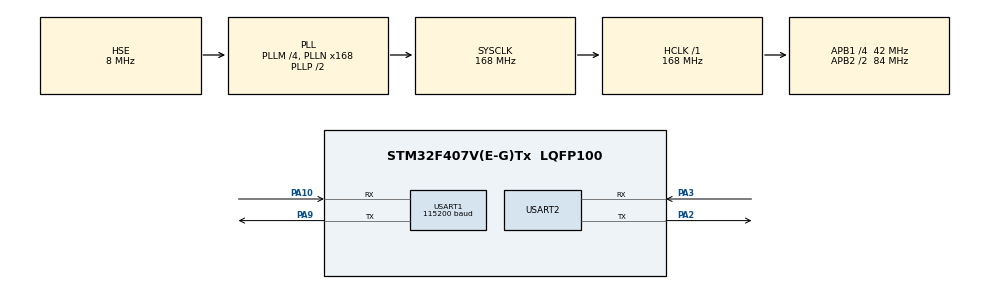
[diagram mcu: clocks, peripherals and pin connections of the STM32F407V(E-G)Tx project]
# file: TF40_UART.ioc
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Dma.Request0=USART1_RX
Dma.Request1=USART1_TX
Dma.Request2=USART2_RX
Dma.Request3=USART2_TX
Dma.USART1_RX.0.Direction=DMA_PERIPH_TO_MEMORY
Dma.USART1_RX.0.FIFOMode=DMA_FIFOMODE_DISABLE
Dma.USART1_RX.0.Instance=DMA2_Stream2
Dma.USART1_RX.0.MemDataAlignment=DMA_MDATAALIGN_BYTE
Dma.USART1_RX.0.MemInc=DMA_MINC_ENABLE
Dma.USART1_RX.0.Mode=DMA_NORMAL
Dma.USART1_RX.0.PeriphDataAlignment=DMA_PDATAALIGN_BYTE
Dma.USART1_RX.0.PeriphInc=DMA_PINC_DISABLE
Dma.USART1_RX.0.Priority=DMA_PRIORITY_LOW
Dma.USART1_TX.1.Direction=DMA_MEMORY_TO_PERIPH
Dma.USART1_TX.1.FIFOMode=DMA_FIFOMODE_DISABLE
Dma.USART1_TX.1.Instance=DMA2_Stream7
Dma.USART1_TX.1.MemDataAlignment=DMA_MDATAALIGN_BYTE
Dma.USART1_TX.1.MemInc=DMA_MINC_ENABLE
Dma.USART1_TX.1.Mode=DMA_NORMAL
Dma.USART1_TX.1.PeriphDataAlignment=DMA_PDATAALIGN_BYTE
Dma.USART1_TX.1.PeriphInc=DMA_PINC_DISABLE
Dma.USART1_TX.1.Priority=DMA_PRIORITY_LOW
Dma.USART2_RX.2.Direction=DMA_PERIPH_TO_MEMORY
Dma.USART2_RX.2.FIFOMode=DMA_FIFOMODE_DISABLE
Dma.USART2_RX.2.Instance=DMA1_Stream5
Dma.USART2_RX.2.MemDataAlignment=DMA_MDATAALIGN_BYTE
Dma.USART2_RX.2.MemInc=DMA_MINC_ENABLE
Dma.USART2_RX.2.Mode=DMA_NORMAL
Dma.USART2_RX.2.PeriphDataAlignment=DMA_PDATAALIGN_BYTE
Dma.USART2_RX.2.PeriphInc=DMA_PINC_DISABLE
Dma.USART2_RX.2.Priority=DMA_PRIORITY_LOW
Dma.USART2_TX.3.Direction=DMA_MEMORY_TO_PERIPH
Dma.USART2_TX.3.FIFOMode=DMA_FIFOMODE_DISABLE
Dma.USART2_TX.3.Instance=DMA1_Stream6
Dma.USART2_TX.3.MemDataAlignment=DMA_MDATAALIGN_BYTE
Dma.USART2_TX.3.MemInc=DMA_MINC_ENABLE
Dma.USART2_TX.3.Mode=DMA_NORMAL
Dma.USART2_TX.3.PeriphDataAlignment=DMA_PDATAALIGN_BYTE
Dma.USART2_TX.3.PeriphInc=DMA_PINC_DISABLE
Dma.USART2_TX.3.Priority=DMA_PRIORITY_LOW
Mcu.Family=STM32F4
Mcu.Name=STM32F407V(E-G)Tx
Mcu.Package=LQFP100
NVIC.DMA1_Stream5_IRQn=true\:0\:0\:false\:false\:true\:false\:true
NVIC.DMA1_Stream6_IRQn=true\:0\:0\:false\:false\:true\:false\:true
NVIC.DMA2_Stream2_IRQn=true\:0\:0\:false\:false\:true\:false\:true
NVIC.DMA2_Stream7_IRQn=true\:0\:0\:false\:false\:true\:false\:true
NVIC.PriorityGroup=NVIC_PRIORITYGROUP_4
NVIC.USART1_IRQn=true\:0\:0\:false\:false\:true\:true\:true
NVIC.USART2_IRQn=true\:0\:0\:false\:false\:true\:true\:true
PA10.Mode=Asynchronous
PA10.Signal=USART1_RX
PA13.Mode=Serial_Wire
PA13.Signal=SYS_JTMS-SWDIO
PA14.Mode=Serial_Wire
PA14.Signal=SYS_JTCK-SWCLK
PA2.Mode=Asynchronous
PA2.Signal=USART2_TX
PA3.Mode=Asynchronous
PA3.Signal=USART2_RX
PA9.Mode=Asynchronous
PA9.Signal=USART1_TX
PH0-OSC_IN.Mode=HSE-External-Oscillator
PH0-OSC_IN.Signal=RCC_OSC_IN
PH1-OSC_OUT.Mode=HSE-External-Oscillator
PH1-OSC_OUT.Signal=RCC_OSC_OUT
ProjectManager.HeapSize=0x200
ProjectManager.StackSize=0x400
ProjectManager.TargetToolchain=MDK-ARM V5.27
RCC.48MHZClocksFreq_Value=84000000
RCC.AHBFreq_Value=168000000
RCC.APB1CLKDivider=RCC_HCLK_DIV4
RCC.APB1Freq_Value=42000000
RCC.APB1TimFreq_Value=84000000
RCC.APB2CLKDivider=RCC_HCLK_DIV2
RCC.APB2Freq_Value=84000000
RCC.APB2TimFreq_Value=168000000
RCC.CortexFreq_Value=168000000
RCC.HCLKFreq_Value=168000000
RCC.HSE_VALUE=8000000
RCC.HSI_VALUE=16000000
RCC.LSE_VALUE=32768
RCC.PLLM=4
RCC.PLLN=168
RCC.PLLSourceVirtual=RCC_PLLSOURCE_HSE
RCC.SYSCLKFreq_VALUE=168000000
RCC.SYSCLKSource=RCC_SYSCLKSOURCE_PLLCLK
RCC.VCOOutputFreq_Value=336000000
USART1.BaudRate=115200
USART1.VirtualMode=VM_ASYNC
USART2.VirtualMode=VM_ASYNC
board=custom

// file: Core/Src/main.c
/* USER CODE BEGIN Header */
/**
 ******************************************************************************
 * @file           : main.c
 * @brief          : Main program body
 ******************************************************************************
 * @attention
 *
 * <h2><center>&copy; Copyright (c) 2022 STMicroelectronics.
 * All rights reserved.</center></h2>
 *
 * This software component is licensed by ST under BSD 3-Clause license,
 * the "License"; You may not use this file except in compliance with the
 * License. You may obtain a copy of the License at:
 *                        opensource.org/licenses/BSD-3-Clause
 *
 ******************************************************************************
 */
/* USER CODE END Header */
#include "main.h"
#include "dma.h"
#include "usart.h"
#include "gpio.h"

/* USER CODE BEGIN PTD */
uint8_t turn_on_laser[] = {
    0x01, 0x10, 0x00, 0x03, 0x00, 0x01, 0x02, 0x00, 0x01, 0x67, 0xA3};
uint8_t close_off_laser[] = {
    0x01, 0x10, 0x00, 0x03, 0x00, 0x01, 0x02, 0x00, 0x00, 0xA6, 0x63};
uint8_t serial_port[] = {
    0x01, 0x10, 0x00, 0x00, 0x00, 0x02, 0x04, 0x00, 0x01, 0xC2, 0x00, 0xF3, 0x0F};
uint8_t continue_meature_mode[] = {
    0x01, 0x03, 0x00, 0x01, 0x00, 0x02, 0x95, 0xCB};
uint8_t start_read_distance[] = {
    0x01, 0x03, 0x00, 0x0F, 0x00, 0x02, 0xF4, 0x08};
uint8_t read_buffer[9];
/* USER CODE END PTD */

/* USER CODE BEGIN PV */
#define BW_TFLidar_DATA_Len             9
#define BW_TFLidar_DATA_ADDRESS            0x01
#define BW_TFLidar_DATA_FUNCTION           0x03
#define BW_TFLidar_DATA_BUTES           0x04

extern DMA_HandleTypeDef hdma_usart1_rx;
extern DMA_HandleTypeDef hdma_usart2_rx;

uint8_t g_usart1_rx_buf[USART_BUF_SIZE] = {0};    /*usart1_rx_buf*/
uint8_t g_usart2_rx_buf[USART_BUF_SIZE] = {0};    /*usart2_rx_buf*/
/* USER CODE END PV */

void SystemClock_Config(void);

int main(void)
{

  /* MCU Configuration--------------------------------------------------------*/

  /* Reset of all peripherals, Initializes the Flash interface and the Systick. */
  HAL_Init();

  /* Configure the system clock */
  SystemClock_Config();

  /* Initialize all configured peripherals */
  MX_GPIO_Init();
  MX_USART1_UART_Init();
  MX_DMA_Init();
  MX_USART2_UART_Init();
  /* USER CODE BEGIN 2 */
  // HAL_UART_Transmit(&huart1, continue_meature_mode, sizeof(continue_meature_mode), 1000);
  //HAL_UART_Transmit(&huart1, serial_port, 12, 1000);

  HAL_Delay(500);
    HAL_UART_Transmit(&huart1, turn_on_laser, sizeof(turn_on_laser), 1000);
  HAL_Delay(1000);
  HAL_UART_Transmit(&huart1, close_off_laser, sizeof(close_off_laser), 1000);
  HAL_Delay(1000);
  HAL_UART_Receive_IT(&huart1, read_buffer, 9);

  /* USER CODE END 2 */

  /* Infinite loop */
  while (1)
  {

    /* USER CODE BEGIN 3 */
    HAL_Delay(100);
  }
  /* USER CODE END 3 */
}

void SystemClock_Config(void)
{
  RCC_OscInitTypeDef RCC_OscInitStruct = {0};
  RCC_ClkInitTypeDef RCC_ClkInitStruct = {0};

  /** Configure the main internal regulator output voltage
  */
  __HAL_RCC_PWR_CLK_ENABLE();
  __HAL_PWR_VOLTAGESCALING_CONFIG(PWR_REGULATOR_VOLTAGE_SCALE1);
  /** Initializes the RCC Oscillators according to the specified parameters
  * in the RCC_OscInitTypeDef structure.
  */
  RCC_OscInitStruct.OscillatorType = RCC_OSCILLATORTYPE_HSE;
  RCC_OscInitStruct.HSEState = RCC_HSE_ON;
  RCC_OscInitStruct.PLL.PLLState = RCC_PLL_ON;
  RCC_OscInitStruct.PLL.PLLSource = RCC_PLLSOURCE_HSE;
  RCC_OscInitStruct.PLL.PLLM = 4;
  RCC_OscInitStruct.PLL.PLLN = 168;
  RCC_OscInitStruct.PLL.PLLP = RCC_PLLP_DIV2;
  RCC_OscInitStruct.PLL.PLLQ = 4;
  if (HAL_RCC_OscConfig(&RCC_OscInitStruct) != HAL_OK)
  {
    Error_Handler();
  }
  /** Initializes the CPU, AHB and APB buses clocks
  */
  RCC_ClkInitStruct.ClockType = RCC_CLOCKTYPE_HCLK|RCC_CLOCKTYPE_SYSCLK
                              |RCC_CLOCKTYPE_PCLK1|RCC_CLOCKTYPE_PCLK2;
  RCC_ClkInitStruct.SYSCLKSource = RCC_SYSCLKSOURCE_PLLCLK;
  RCC_ClkInitStruct.AHBCLKDivider = RCC_SYSCLK_DIV1;
  RCC_ClkInitStruct.APB1CLKDivider = RCC_HCLK_DIV4;
  RCC_ClkInitStruct.APB2CLKDivider = RCC_HCLK_DIV2;

  if (HAL_RCC_ClockConfig(&RCC_ClkInitStruct, FLASH_LATENCY_5) != HAL_OK)
  {
    Error_Handler();
  }
}

/* USER CODE BEGIN 4 */
void USART1_RX_Proc(uint8_t *buf, uint32_t len)
{
    uint32_t dist = 0;
  	uint32_t crc = 0;
    uint32_t crc16 = 0;
    if(BW_TFLidar_DATA_Len == len)
    {
        if((BW_TFLidar_DATA_ADDRESS == buf[0])&&(BW_TFLidar_DATA_FUNCTION == buf[1])
        &&(BW_TFLidar_DATA_BUTES == buf[2]))
        {
            crc = (buf[8]<<8)|buf[9];
            crc16 =  CRC16(&buf[0], 0x07);
            if (crc == crc16)
            {
                dist 		 = ((buf[5]<<8|buf[6])<<16) | ((buf[7]<<8)|buf[8]);
								printf("dist = %d mm.\r\n", dist);

            }
        }
    }
}
void USART2_RX_Proc(uint8_t *buf, uint32_t len)
{

}
/* USER CODE END 4 */

void Error_Handler(void)
{
  __disable_irq();
  while (1)
  {
  }
}

/************************ (C) COPYRIGHT STMicroelectronics *****END OF FILE****/
